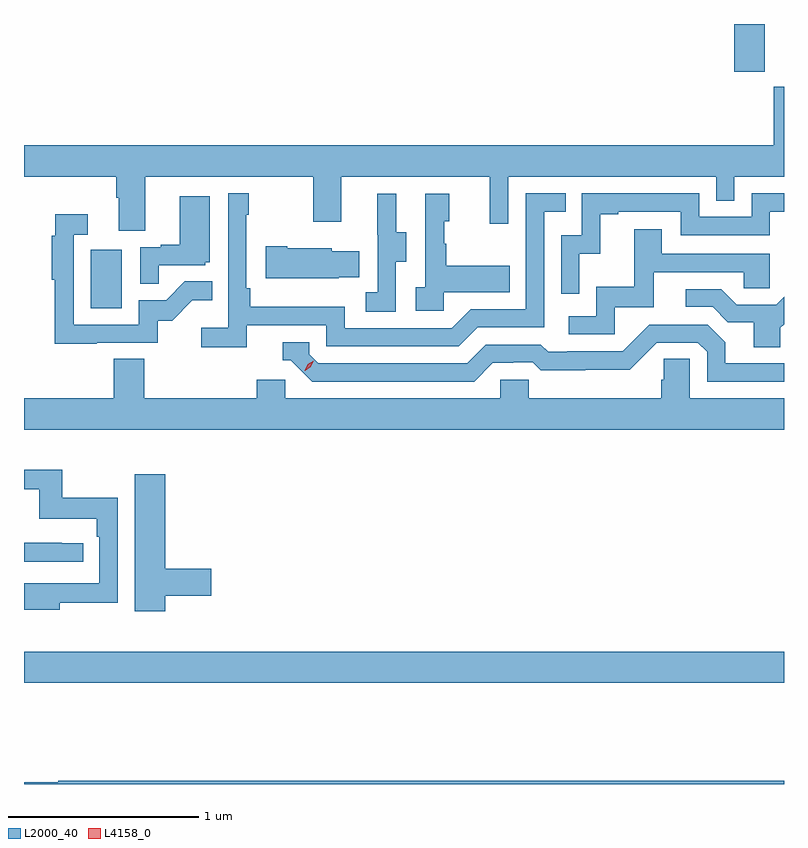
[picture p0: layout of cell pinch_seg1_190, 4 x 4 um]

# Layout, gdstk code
import gdstk
lib = gdstk.Library(unit=1e-6, precision=1e-09)
def R(c, l, rs):  # rectangles x0, y0, x1, y1
    for r in rs: c.add(gdstk.rectangle(r[:2], r[2:], *l))
def P(c, l, *ps):  # polygons
    for p in ps: c.add(gdstk.Polygon(p, *l))
L2000_40 = (2000, 40)
L4158_0 = (4158, 0)

pinch_seg1_190 = lib.new_cell('pinch_seg1_190')
R(pinch_seg1_190, L2000_40, [(956.399,574.376,960.399,574.54), (956.75,576.348,956.914,576.655), (960.137,577.593,960.297,577.843)])
P(pinch_seg1_190, L2000_40, [(957.037,577.04),(957.922,577.04),(957.922,576.801),(958.069,576.801),(958.069,577.04),(958.85,577.04),(958.85,576.792),(958.947,576.792),(958.947,577.04),(960.042,577.04),(960.042,576.913),(960.138,576.913),(960.138,577.04),(960.399,577.04),(960.399,577.513),(960.344,577.513),(960.344,577.204),(956.399,577.204),(956.399,577.04),(956.885,577.04),(956.885,576.928),(956.897,576.928),(956.897,576.754),(957.037,576.754)],
  [(957.572,576.258),(957.99,576.258),(957.99,576.147),(958.687,576.147),(958.786,576.246),(959.136,576.246),(959.136,576.855),(959.249,576.855),(959.249,576.951),(959.04,576.951),(959.04,576.342),(958.749,576.342),(958.65,576.243),(958.086,576.243),(958.086,576.355),(957.59,576.355),(957.59,576.451),(957.57,576.451),(957.57,576.839),(957.583,576.839),(957.583,576.952),(957.474,576.952),(957.474,576.244),(957.333,576.244),(957.333,576.142),(957.572,576.142)],
  [(959.322,576.635),(959.432,576.635),(959.432,576.843),(959.527,576.843),(959.527,576.855),(959.856,576.855),(959.856,576.732),(960.324,576.732),(960.324,576.855),(960.399,576.855),(960.399,576.951),(960.228,576.951),(960.228,576.828),(959.952,576.828),(959.952,576.951),(959.334,576.951),(959.334,576.732),(959.226,576.732),(959.226,576.423),(959.322,576.423)],
  [(958.356,576.592),(958.411,576.592),(958.411,576.747),(958.357,576.747),(958.357,576.949),(958.259,576.949),(958.259,576.735),(958.26,576.735),(958.26,576.431),(958.197,576.431),(958.197,576.328),(958.356,576.328)],
  [(958.608,576.431),(958.955,576.431),(958.955,576.571),(958.621,576.571),(958.621,576.686),(958.611,576.686),(958.611,576.804),(958.636,576.804),(958.636,576.949),(958.512,576.949),(958.512,576.458),(958.461,576.458),(958.461,576.333),(958.608,576.333)],
  [(957.107,576.573),(957.354,576.573),(957.354,576.588),(957.376,576.588),(957.376,576.937),(957.218,576.937),(957.218,576.682),(957.119,576.682),(957.119,576.669),(957.012,576.669),(957.012,576.475),(957.107,576.475)],
  [(956.783,576.165),(957.102,576.165),(957.102,576.282),(957.178,576.282),(957.285,576.389),(957.389,576.389),(957.389,576.488),(957.245,576.488),(957.147,576.39),(957.003,576.39),(957.003,576.261),(956.661,576.261),(956.661,576.735),(956.734,576.735),(956.734,576.841),(956.564,576.841),(956.564,576.728),(956.545,576.728),(956.545,576.498),(956.56,576.498),(956.56,576.16),(956.783,576.16)],
  [(959.508,576.351),(959.713,576.351),(959.713,576.537),(960.187,576.537),(960.187,576.453),(960.324,576.453),(960.324,576.633),(959.755,576.633),(959.755,576.763),(959.611,576.763),(959.611,576.46),(959.412,576.46),(959.412,576.306),(959.265,576.306),(959.265,576.21),(959.508,576.21)],
  [(958.055,576.509),(958.163,576.509),(958.163,576.646),(958.02,576.646),(958.02,576.664),(957.784,576.664),(957.784,576.672),(957.672,576.672),(957.672,576.506),(958.055,576.506)],
  [(960.379,576.244),(960.399,576.264),(960.399,576.408),(960.357,576.366),(960.151,576.366),(960.07,576.447),(959.883,576.447),(959.883,576.354),(960.024,576.354),(960.104,576.274),(960.239,576.274),(960.239,576.142),(960.379,576.142)],
  [(958.867,576.06),(958.974,576.06),(958.974,576.063),(959.077,576.063),(959.119,576.021),(959.352,576.021),(959.352,576.023),(959.588,576.023),(959.73,576.165),(959.946,576.165),(959.994,576.117),(959.994,575.961),(960.399,575.961),(960.399,576.057),(960.091,576.057),(960.091,576.167),(959.997,576.261),(959.691,576.261),(959.55,576.12),(959.257,576.12),(959.257,576.117),(959.158,576.117),(959.119,576.156),(958.83,576.156),(958.731,576.057),(957.948,576.057),(957.9,576.105),(957.9,576.168),(957.761,576.168),(957.761,576.072),(957.804,576.072),(957.915,575.961),(958.768,575.961)],
  [(960.399,575.872),(959.904,575.872),(959.904,576.08),(959.767,576.08),(959.767,575.97),(959.753,575.97),(959.753,575.872),(959.055,575.872),(959.055,575.97),(958.905,575.97),(958.905,575.872),(957.774,575.872),(957.774,575.97),(957.623,575.97),(957.623,575.872),(957.032,575.872),(957.032,576.08),(956.872,576.08),(956.872,575.872),(956.399,575.872),(956.399,575.708),(960.399,575.708)],
  [(956.587,574.798),(956.892,574.798),(956.892,575.35),(956.599,575.35),(956.599,575.496),(956.399,575.496),(956.399,575.395),(956.478,575.395),(956.478,575.24),(956.783,575.24),(956.783,575.144),(956.796,575.144),(956.796,574.899),(956.483,574.899),(956.483,574.9),(956.399,574.9),(956.399,574.76),(956.587,574.76)],
  [(957.142,574.834),(957.385,574.834),(957.385,574.976),(957.142,574.976),(957.142,575.473),(956.981,575.473),(956.981,574.752),(957.142,574.752)],
  [(956.71,575.109),(956.597,575.109),(956.597,575.114),(956.399,575.114),(956.399,575.013),(956.71,575.013)],
  [(960.399,573.86),(956.579,573.86),(956.579,573.853),(956.399,573.853),(956.399,573.843),(960.399,573.843)])
P(pinch_seg1_190, L4158_0, [(957.877,576.019),(957.877,576.019),(957.893,576.051),(957.924,576.071),(957.924,576.071),(957.924,576.07),(957.908,576.038),(957.878,576.019)])

lib.write_gds('pinch_seg1_190.gds')
